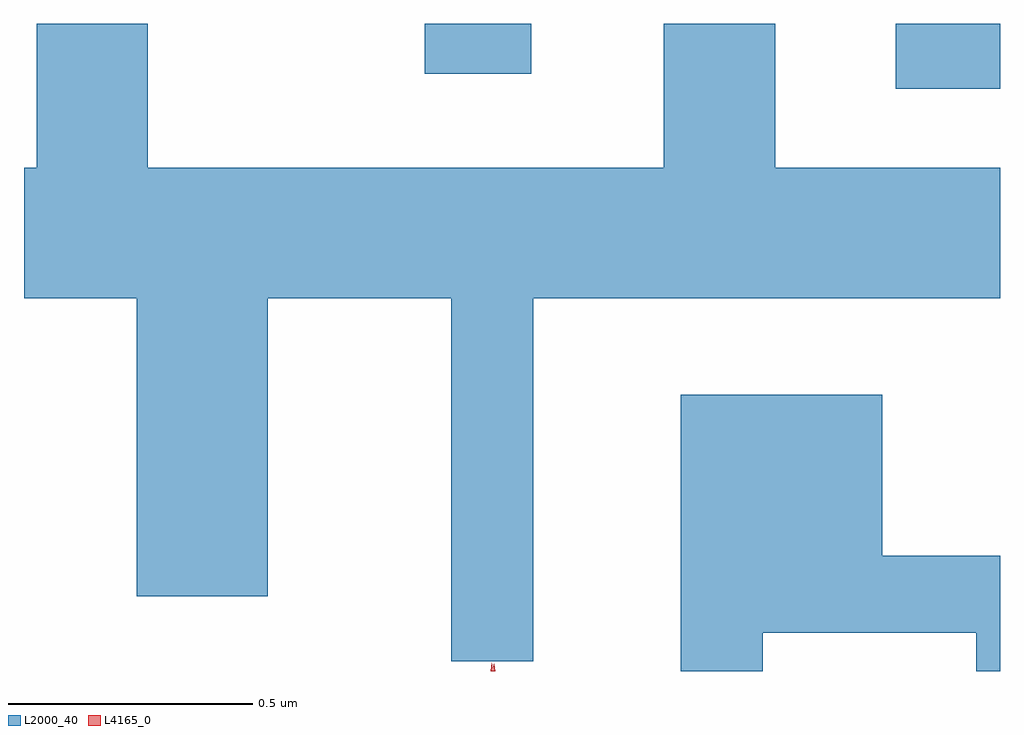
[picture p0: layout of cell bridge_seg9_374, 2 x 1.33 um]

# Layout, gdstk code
import gdstk
lib = gdstk.Library(unit=1e-6, precision=1e-09)
def R(c, l, rs):  # rectangles x0, y0, x1, y1
    for r in rs: c.add(gdstk.rectangle(r[:2], r[2:], *l))
def P(c, l, *ps):  # polygons
    for p in ps: c.add(gdstk.Polygon(p, *l))
L2000_40 = (2000, 40)
L4165_0 = (4165, 0)

bridge_seg9_374 = lib.new_cell('bridge_seg9_374')
R(bridge_seg9_374, L2000_40, [(736.111,1945.626,736.325,1945.759), (735.146,1945.656,735.364,1945.759)])
P(bridge_seg9_374, L2000_40, [(735.369,1945.196),(736.325,1945.196),(736.325,1945.464),(735.864,1945.464),(735.864,1945.759),(735.636,1945.759),(735.636,1945.464),(734.579,1945.464),(734.579,1945.759),(734.351,1945.759),(734.351,1945.464),(734.325,1945.464),(734.325,1945.196),(734.556,1945.196),(734.556,1944.586),(734.824,1944.586),(734.824,1945.196),(735.201,1945.196),(735.201,1944.453),(735.369,1944.453)],
  [(735.839,1944.511),(736.276,1944.511),(736.276,1944.432),(736.325,1944.432),(736.325,1944.669),(736.084,1944.669),(736.084,1944.999),(735.671,1944.999),(735.671,1944.432),(735.839,1944.432)])
P(bridge_seg9_374, L4165_0, [(735.281,1944.432),(735.283,1944.449),(735.283,1944.45),(735.284,1944.449),(735.287,1944.432)],
  [(735.286,1944.432),(735.288,1944.446),(735.289,1944.447),(735.289,1944.446),(735.291,1944.432)])

lib.write_gds('bridge_seg9_374.gds')
